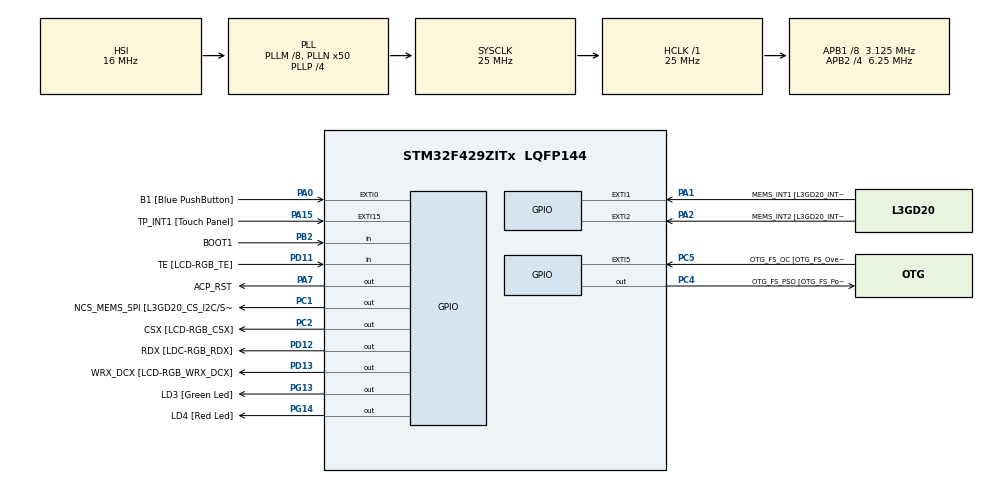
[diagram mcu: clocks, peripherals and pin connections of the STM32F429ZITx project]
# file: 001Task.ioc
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Mcu.Family=STM32F4
Mcu.Name=STM32F429ZITx
Mcu.Package=LQFP144
NVIC.PriorityGroup=NVIC_PRIORITYGROUP_4
NVIC.TIM6_DAC_IRQn=true\:0\:0\:false\:false\:true\:false\:true\:true
NVIC.TimeBase=TIM6_DAC_IRQn
NVIC.TimeBaseIP=TIM6
PA0/WKUP.GPIO_Label=B1 [Blue PushButton]
PA0/WKUP.GPIO_ModeDefaultEXTI=GPIO_MODE_EVT_RISING
PA0/WKUP.GPIO_PuPd=GPIO_NOPULL
PA0/WKUP.Signal=GPXTI0
PA1.GPIO_Label=MEMS_INT1 [L3GD20_INT1]
PA1.GPIO_ModeDefaultEXTI=GPIO_MODE_EVT_RISING
PA1.GPIO_PuPd=GPIO_NOPULL
PA1.Signal=GPXTI1
PA10.GPIO_Label=STLINK_TX [STM32F103CBT6_PA2]
PA10.Signal=USART1_RX
PA11.GPIO_Label=R4
PA11.GPIO_Mode=GPIO_MODE_AF_PP
PA11.GPIO_PuPd=GPIO_NOPULL
PA11.GPIO_Speed=GPIO_SPEED_FREQ_LOW
PA11.Signal=LTDC_R4
PA12.GPIO_Label=R5
PA12.GPIO_Mode=GPIO_MODE_AF_PP
PA12.GPIO_PuPd=GPIO_NOPULL
PA12.GPIO_Speed=GPIO_SPEED_FREQ_LOW
PA12.Signal=LTDC_R5
PA13.GPIO_Label=SWDIO
PA13.Signal=SYS_JTMS-SWDIO
PA14.GPIO_Label=SWCLK
PA14.Signal=SYS_JTCK-SWCLK
PA15.GPIO_Label=TP_INT1 [Touch Panel]
PA15.GPIO_ModeDefaultEXTI=GPIO_MODE_EVT_RISING
PA15.GPIO_PuPd=GPIO_NOPULL
PA15.Signal=GPXTI15
PA2.GPIO_Label=MEMS_INT2 [L3GD20_INT2]
PA2.GPIO_ModeDefaultEXTI=GPIO_MODE_EVT_RISING
PA2.GPIO_PuPd=GPIO_NOPULL
PA2.Signal=GPXTI2
PA3.GPIO_Label=B5
PA3.GPIO_Mode=GPIO_MODE_AF_PP
PA3.GPIO_PuPd=GPIO_NOPULL
PA3.GPIO_Speed=GPIO_SPEED_FREQ_LOW
PA3.Signal=LTDC_B5
PA4.GPIO_Label=VSYNC
PA4.GPIO_Mode=GPIO_MODE_AF_PP
PA4.GPIO_PuPd=GPIO_NOPULL
PA4.GPIO_Speed=GPIO_SPEED_FREQ_LOW
PA4.Signal=LTDC_VSYNC
PA6.GPIO_Label=G2
PA6.GPIO_Mode=GPIO_MODE_AF_PP
PA6.GPIO_PuPd=GPIO_NOPULL
PA6.GPIO_Speed=GPIO_SPEED_FREQ_LOW
PA6.Signal=LTDC_G2
PA7.GPIO_Label=ACP_RST
PA7.GPIO_Mode=GPIO_MODE_OUTPUT_PP
PA7.GPIO_PuPd=GPIO_NOPULL
PA7.GPIO_Speed=GPIO_SPEED_FREQ_LOW
PA7.Signal=GPIO_Output
PA8.GPIO_Label=I2C3_SCL [ACP/RF_SCL]
PA8.GPIO_Mode=GPIO_MODE_AF_OD
PA8.GPIO_PuPd=GPIO_NOPULL
PA8.GPIO_Speed=GPIO_SPEED_FREQ_LOW
PA8.Signal=I2C3_SCL
PA9.GPIO_Label=STLINK_RX [STM32F103CBT6_PA3]
PA9.Signal=USART1_TX
PB0.GPIO_Label=R3
PB0.GPIO_Mode=GPIO_MODE_AF_PP
PB0.GPIO_PuPd=GPIO_NOPULL
PB0.GPIO_Speed=GPIO_SPEED_FREQ_LOW
PB0.Signal=LTDC_R3
PB1.GPIO_Label=R6
PB1.GPIO_Mode=GPIO_MODE_AF_PP
PB1.GPIO_PuPd=GPIO_NOPULL
PB1.GPIO_Speed=GPIO_SPEED_FREQ_LOW
PB1.Signal=LTDC_R6
PB10.GPIO_Label=G4
PB10.GPIO_Mode=GPIO_MODE_AF_PP
PB10.GPIO_PuPd=GPIO_NOPULL
PB10.GPIO_Speed=GPIO_SPEED_FREQ_LOW
PB10.Signal=LTDC_G4
PB11.GPIO_Label=G5
PB11.GPIO_Mode=GPIO_MODE_AF_PP
PB11.GPIO_PuPd=GPIO_NOPULL
PB11.GPIO_Speed=GPIO_SPEED_FREQ_LOW
PB11.Signal=LTDC_G5
PB12.GPIO_Label=OTG_HS_ID
PB12.GPIO_Mode=GPIO_MODE_AF_PP
PB12.GPIO_PuPd=GPIO_NOPULL
PB12.GPIO_Speed=GPIO_SPEED_FREQ_LOW
PB12.Signal=USB_OTG_HS_ID
PB13.GPIO_Label=VBUS_HS
PB13.GPIO_Mode=GPIO_MODE_INPUT
PB13.GPIO_PuPd=GPIO_NOPULL
PB13.Signal=USB_OTG_HS_VBUS
PB14.GPIO_Label=OTG_HS_DM
PB14.GPIO_Mode=GPIO_MODE_AF_PP
PB14.GPIO_PuPd=GPIO_NOPULL
PB14.GPIO_Speed=GPIO_SPEED_FREQ_LOW
PB14.Signal=USB_OTG_HS_DM
PB15.GPIO_Label=OTG_HS_DP
PB15.GPIO_Mode=GPIO_MODE_AF_PP
PB15.GPIO_PuPd=GPIO_NOPULL
PB15.GPIO_Speed=GPIO_SPEED_FREQ_LOW
PB15.Signal=USB_OTG_HS_DP
PB2/BOOT1.GPIO_Label=BOOT1
PB2/BOOT1.GPIO_Mode=GPIO_MODE_INPUT
PB2/BOOT1.GPIO_PuPd=GPIO_NOPULL
PB2/BOOT1.Signal=GPIO_Input
PB5.GPIO_Label=SDCKE1
PB5.GPIO_Mode=GPIO_MODE_AF_PP
PB5.GPIO_PuPd=GPIO_NOPULL
PB5.GPIO_Speed=GPIO_SPEED_FREQ_VERY_HIGH
PB5.Signal=FMC_SDCKE1
PB6.GPIO_Label=SDNE1 [SDRAM_CS]
PB6.GPIO_Mode=GPIO_MODE_AF_PP
PB6.GPIO_PuPd=GPIO_NOPULL
PB6.GPIO_Speed=GPIO_SPEED_FREQ_VERY_HIGH
PB6.Signal=FMC_SDNE1
PB8.GPIO_Label=B6
PB8.GPIO_Mode=GPIO_MODE_AF_PP
PB8.GPIO_PuPd=GPIO_NOPULL
PB8.GPIO_Speed=GPIO_SPEED_FREQ_LOW
PB8.Signal=LTDC_B6
PB9.GPIO_Label=B7
PB9.GPIO_Mode=GPIO_MODE_AF_PP
PB9.GPIO_PuPd=GPIO_NOPULL
PB9.GPIO_Speed=GPIO_SPEED_FREQ_LOW
PB9.Signal=LTDC_B7
PC0.GPIO_Label=SDNWE
PC0.GPIO_Mode=GPIO_MODE_AF_PP
PC0.GPIO_PuPd=GPIO_NOPULL
PC0.GPIO_Speed=GPIO_SPEED_FREQ_VERY_HIGH
PC0.Signal=FMC_SDNWE
PC1.GPIO_Label=NCS_MEMS_SPI [L3GD20_CS_I2C/SPI]
PC1.GPIO_Mode=GPIO_MODE_OUTPUT_PP
PC1.GPIO_PuPd=GPIO_NOPULL
PC1.GPIO_Speed=GPIO_SPEED_FREQ_LOW
PC1.Signal=GPIO_Output
PC10.GPIO_Label=R2
PC10.GPIO_Mode=GPIO_MODE_AF_PP
PC10.GPIO_PuPd=GPIO_NOPULL
PC10.GPIO_Speed=GPIO_SPEED_FREQ_LOW
PC10.Signal=LTDC_R2
PC14/OSC32_IN.GPIO_Label=PC14-OSC32_IN
PC14/OSC32_IN.Signal=RCC_OSC32_IN
PC15/OSC32_OUT.GPIO_Label=PC15-OSC32_OUT
PC15/OSC32_OUT.Signal=RCC_OSC32_OUT
PC2.GPIO_Label=CSX [LCD-RGB_CSX]
PC2.GPIO_Mode=GPIO_MODE_OUTPUT_PP
PC2.GPIO_PuPd=GPIO_NOPULL
PC2.GPIO_Speed=GPIO_SPEED_FREQ_LOW
PC2.Signal=GPIO_Output
PC4.GPIO_Label=OTG_FS_PSO [OTG_FS_PowerSwitchOn]
PC4.GPIO_Mode=GPIO_MODE_OUTPUT_PP
PC4.GPIO_PuPd=GPIO_NOPULL
PC4.GPIO_Speed=GPIO_SPEED_FREQ_LOW
PC4.Signal=GPIO_Output
PC5.GPIO_Label=OTG_FS_OC [OTG_FS_OverCurrent]
PC5.GPIO_ModeDefaultEXTI=GPIO_MODE_EVT_RISING
PC5.Signal=GPXTI5
PC6.GPIO_Label=HSYNC
PC6.GPIO_Mode=GPIO_MODE_AF_PP
PC6.GPIO_PuPd=GPIO_NOPULL
PC6.GPIO_Speed=GPIO_SPEED_FREQ_LOW
PC6.Signal=LTDC_HSYNC
PC7.GPIO_Label=G6
PC7.GPIO_Mode=GPIO_MODE_AF_PP
PC7.GPIO_PuPd=GPIO_NOPULL
PC7.GPIO_Speed=GPIO_SPEED_FREQ_LOW
PC7.Signal=LTDC_G6
PC9.GPIO_Label=I2C3_SDA [ACP/RF_SDA]
PC9.GPIO_Mode=GPIO_MODE_AF_OD
PC9.GPIO_PuPd=GPIO_NOPULL
PC9.GPIO_Speed=GPIO_SPEED_FREQ_LOW
PC9.Signal=I2C3_SDA
PD0.GPIO_Label=D2
PD0.GPIO_Mode=GPIO_MODE_AF_PP
PD0.GPIO_PuPd=GPIO_NOPULL
PD0.GPIO_Speed=GPIO_SPEED_FREQ_VERY_HIGH
PD0.Signal=FMC_D2_DA2
PD1.GPIO_Label=D3
PD1.GPIO_Mode=GPIO_MODE_AF_PP
PD1.GPIO_PuPd=GPIO_NOPULL
PD1.GPIO_Speed=GPIO_SPEED_FREQ_VERY_HIGH
PD1.Signal=FMC_D3_DA3
PD10.GPIO_Label=D15
PD10.GPIO_Mode=GPIO_MODE_AF_PP
PD10.GPIO_PuPd=GPIO_NOPULL
PD10.GPIO_Speed=GPIO_SPEED_FREQ_VERY_HIGH
PD10.Signal=FMC_D15_DA15
PD11.GPIO_Label=TE [LCD-RGB_TE]
PD11.GPIO_Mode=GPIO_MODE_INPUT
PD11.GPIO_PuPd=GPIO_NOPULL
PD11.Signal=GPIO_Input
PD12.GPIO_Label=RDX [LDC-RGB_RDX]
PD12.GPIO_Mode=GPIO_MODE_OUTPUT_PP
PD12.GPIO_PuPd=GPIO_NOPULL
PD12.GPIO_Speed=GPIO_SPEED_FREQ_LOW
PD12.Signal=GPIO_Output
PD13.GPIO_Label=WRX_DCX [LCD-RGB_WRX_DCX]
PD13.GPIO_Mode=GPIO_MODE_OUTPUT_PP
PD13.GPIO_PuPd=GPIO_NOPULL
PD13.GPIO_Speed=GPIO_SPEED_FREQ_LOW
PD13.Signal=GPIO_Output
PD14.GPIO_Label=D0
PD14.GPIO_Mode=GPIO_MODE_AF_PP
PD14.GPIO_PuPd=GPIO_NOPULL
PD14.GPIO_Speed=GPIO_SPEED_FREQ_VERY_HIGH
PD14.Signal=FMC_D0_DA0
PD15.GPIO_Label=D1
PD15.GPIO_Mode=GPIO_MODE_AF_PP
PD15.GPIO_PuPd=GPIO_NOPULL
PD15.GPIO_Speed=GPIO_SPEED_FREQ_VERY_HIGH
PD15.Signal=FMC_D1_DA1
PD3.GPIO_Label=G7
PD3.GPIO_Mode=GPIO_MODE_AF_PP
PD3.GPIO_PuPd=GPIO_NOPULL
PD3.GPIO_Speed=GPIO_SPEED_FREQ_LOW
PD3.Signal=LTDC_G7
PD6.GPIO_Label=B2
PD6.GPIO_Mode=GPIO_MODE_AF_PP
PD6.GPIO_PuPd=GPIO_NOPULL
PD6.GPIO_Speed=GPIO_SPEED_FREQ_LOW
PD6.Signal=LTDC_B2
PD8.GPIO_Label=D13
PD8.GPIO_Mode=GPIO_MODE_AF_PP
PD8.GPIO_PuPd=GPIO_NOPULL
PD8.GPIO_Speed=GPIO_SPEED_FREQ_VERY_HIGH
PD8.Signal=FMC_D13_DA13
PD9.GPIO_Label=D14
PD9.GPIO_Mode=GPIO_MODE_AF_PP
PD9.GPIO_PuPd=GPIO_NOPULL
PD9.GPIO_Speed=GPIO_SPEED_FREQ_VERY_HIGH
PD9.Signal=FMC_D14_DA14
PE0.GPIO_Label=NBL0 [SDRAM_LDQM]
PE0.GPIO_Mode=GPIO_MODE_AF_PP
PE0.GPIO_PuPd=GPIO_NOPULL
PE0.GPIO_Speed=GPIO_SPEED_FREQ_VERY_HIGH
PE0.Signal=FMC_NBL0
PE1.GPIO_Label=NBL1 [SDRAM_UDQM]
PE1.GPIO_Mode=GPIO_MODE_AF_PP
PE1.GPIO_PuPd=GPIO_NOPULL
PE1.GPIO_Speed=GPIO_SPEED_FREQ_VERY_HIGH
PE1.Signal=FMC_NBL1
PE10.GPIO_Label=D7
PE10.GPIO_Mode=GPIO_MODE_AF_PP
PE10.GPIO_PuPd=GPIO_NOPULL
PE10.GPIO_Speed=GPIO_SPEED_FREQ_VERY_HIGH
PE10.Signal=FMC_D7_DA7
PE11.GPIO_Label=D8
PE11.GPIO_Mode=GPIO_MODE_AF_PP
PE11.GPIO_PuPd=GPIO_NOPULL
PE11.GPIO_Speed=GPIO_SPEED_FREQ_VERY_HIGH
PE11.Signal=FMC_D8_DA8
PE12.GPIO_Label=D9
PE12.GPIO_Mode=GPIO_MODE_AF_PP
PE12.GPIO_PuPd=GPIO_NOPULL
PE12.GPIO_Speed=GPIO_SPEED_FREQ_VERY_HIGH
PE12.Signal=FMC_D9_DA9
PE13.GPIO_Label=D10
PE13.GPIO_Mode=GPIO_MODE_AF_PP
PE13.GPIO_PuPd=GPIO_NOPULL
PE13.GPIO_Speed=GPIO_SPEED_FREQ_VERY_HIGH
PE13.Signal=FMC_D10_DA10
PE14.GPIO_Label=D11
PE14.GPIO_Mode=GPIO_MODE_AF_PP
PE14.GPIO_PuPd=GPIO_NOPULL
PE14.GPIO_Speed=GPIO_SPEED_FREQ_VERY_HIGH
PE14.Signal=FMC_D11_DA11
PE15.GPIO_Label=D12
PE15.GPIO_Mode=GPIO_MODE_AF_PP
PE15.GPIO_PuPd=GPIO_NOPULL
PE15.GPIO_Speed=GPIO_SPEED_FREQ_VERY_HIGH
PE15.Signal=FMC_D12_DA12
PE7.GPIO_Label=D4
PE7.GPIO_Mode=GPIO_MODE_AF_PP
PE7.GPIO_PuPd=GPIO_NOPULL
PE7.GPIO_Speed=GPIO_SPEED_FREQ_VERY_HIGH
PE7.Signal=FMC_D4_DA4
PE8.GPIO_Label=D5
PE8.GPIO_Mode=GPIO_MODE_AF_PP
PE8.GPIO_PuPd=GPIO_NOPULL
PE8.GPIO_Speed=GPIO_SPEED_FREQ_VERY_HIGH
PE8.Signal=FMC_D5_DA5
PE9.GPIO_Label=D6
PE9.GPIO_Mode=GPIO_MODE_AF_PP
PE9.GPIO_PuPd=GPIO_NOPULL
PE9.GPIO_Speed=GPIO_SPEED_FREQ_VERY_HIGH
PE9.Signal=FMC_D6_DA6
PF0.GPIO_Label=A0
PF0.GPIO_Mode=GPIO_MODE_AF_PP
PF0.GPIO_PuPd=GPIO_NOPULL
PF0.GPIO_Speed=GPIO_SPEED_FREQ_VERY_HIGH
PF0.Signal=FMC_A0
PF1.GPIO_Label=A1
PF1.GPIO_Mode=GPIO_MODE_AF_PP
PF1.GPIO_PuPd=GPIO_NOPULL
PF1.GPIO_Speed=GPIO_SPEED_FREQ_VERY_HIGH
PF1.Signal=FMC_A1
PF10.GPIO_Label=ENABLE [LCD-RGB_ENABLE]
PF10.GPIO_Mode=GPIO_MODE_AF_PP
PF10.GPIO_PuPd=GPIO_NOPULL
PF10.GPIO_Speed=GPIO_SPEED_FREQ_LOW
PF10.Signal=LTDC_DE
PF11.GPIO_Label=SDNRAS
PF11.GPIO_Mode=GPIO_MODE_AF_PP
PF11.GPIO_PuPd=GPIO_NOPULL
PF11.GPIO_Speed=GPIO_SPEED_FREQ_VERY_HIGH
PF11.Signal=FMC_SDNRAS
PF12.GPIO_Label=A6
PF12.GPIO_Mode=GPIO_MODE_AF_PP
PF12.GPIO_PuPd=GPIO_NOPULL
PF12.GPIO_Speed=GPIO_SPEED_FREQ_VERY_HIGH
PF12.Signal=FMC_A6
PF13.GPIO_Label=A7
PF13.GPIO_Mode=GPIO_MODE_AF_PP
PF13.GPIO_PuPd=GPIO_NOPULL
PF13.GPIO_Speed=GPIO_SPEED_FREQ_VERY_HIGH
PF13.Signal=FMC_A7
PF14.GPIO_Label=A8
PF14.GPIO_Mode=GPIO_MODE_AF_PP
PF14.GPIO_PuPd=GPIO_NOPULL
PF14.GPIO_Speed=GPIO_SPEED_FREQ_VERY_HIGH
PF14.Signal=FMC_A8
PF15.GPIO_Label=A9
PF15.GPIO_Mode=GPIO_MODE_AF_PP
PF15.GPIO_PuPd=GPIO_NOPULL
PF15.GPIO_Speed=GPIO_SPEED_FREQ_VERY_HIGH
PF15.Signal=FMC_A9
PF2.GPIO_Label=A2
PF2.GPIO_Mode=GPIO_MODE_AF_PP
PF2.GPIO_PuPd=GPIO_NOPULL
PF2.GPIO_Speed=GPIO_SPEED_FREQ_VERY_HIGH
PF2.Signal=FMC_A2
PF3.GPIO_Label=A3
PF3.GPIO_Mode=GPIO_MODE_AF_PP
PF3.GPIO_PuPd=GPIO_NOPULL
PF3.GPIO_Speed=GPIO_SPEED_FREQ_VERY_HIGH
PF3.Signal=FMC_A3
PF4.GPIO_Label=A4
PF4.GPIO_Mode=GPIO_MODE_AF_PP
PF4.GPIO_PuPd=GPIO_NOPULL
PF4.GPIO_Speed=GPIO_SPEED_FREQ_VERY_HIGH
PF4.Signal=FMC_A4
PF5.GPIO_Label=A5
PF5.GPIO_Mode=GPIO_MODE_AF_PP
PF5.GPIO_PuPd=GPIO_NOPULL
PF5.GPIO_Speed=GPIO_SPEED_FREQ_VERY_HIGH
PF5.Signal=FMC_A5
PF7.GPIO_Label=SPI5_SCK [L3GD20_SCL/SPC]
PF7.GPIO_Mode=GPIO_MODE_AF_PP
PF7.GPIO_PuPd=GPIO_NOPULL
PF7.GPIO_Speed=GPIO_SPEED_FREQ_LOW
PF7.Signal=SPI5_SCK
PF8.GPIO_Label=SPI5_MISO [L3GD20_SDO]
PF8.GPIO_Mode=GPIO_MODE_AF_PP
PF8.GPIO_PuPd=GPIO_NOPULL
PF8.GPIO_Speed=GPIO_SPEED_FREQ_LOW
PF8.Signal=SPI5_MISO
PF9.GPIO_Label=SPI5_MOSI [L3GD20_SDA/SDI/SDO]
PF9.GPIO_Mode=GPIO_MODE_AF_PP
PF9.GPIO_PuPd=GPIO_NOPULL
PF9.GPIO_Speed=GPIO_SPEED_FREQ_LOW
PF9.Signal=SPI5_MOSI
PG0.GPIO_Label=A10
PG0.GPIO_Mode=GPIO_MODE_AF_PP
PG0.GPIO_PuPd=GPIO_NOPULL
PG0.GPIO_Speed=GPIO_SPEED_FREQ_VERY_HIGH
PG0.Signal=FMC_A10
PG1.GPIO_Label=A11
PG1.GPIO_Mode=GPIO_MODE_AF_PP
PG1.GPIO_PuPd=GPIO_NOPULL
PG1.GPIO_Speed=GPIO_SPEED_FREQ_VERY_HIGH
PG1.Signal=FMC_A11
PG10.GPIO_Label=G3
PG10.GPIO_Mode=GPIO_MODE_AF_PP
PG10.GPIO_PuPd=GPIO_NOPULL
PG10.GPIO_Speed=GPIO_SPEED_FREQ_LOW
PG10.Signal=LTDC_G3
PG11.GPIO_Label=B3
PG11.GPIO_Mode=GPIO_MODE_AF_PP
PG11.GPIO_PuPd=GPIO_NOPULL
PG11.GPIO_Speed=GPIO_SPEED_FREQ_LOW
PG11.Signal=LTDC_B3
PG12.GPIO_Label=B4
PG12.GPIO_Mode=GPIO_MODE_AF_PP
PG12.GPIO_PuPd=GPIO_NOPULL
PG12.GPIO_Speed=GPIO_SPEED_FREQ_LOW
PG12.Signal=LTDC_B4
PG13.GPIO_Label=LD3 [Green Led]
PG13.GPIO_Mode=GPIO_MODE_OUTPUT_PP
PG13.GPIO_PuPd=GPIO_NOPULL
PG13.GPIO_Speed=GPIO_SPEED_FREQ_LOW
PG13.Signal=GPIO_Output
PG14.GPIO_Label=LD4 [Red Led]
PG14.GPIO_Mode=GPIO_MODE_OUTPUT_PP
PG14.GPIO_PuPd=GPIO_NOPULL
PG14.GPIO_Speed=GPIO_SPEED_FREQ_LOW
PG14.Signal=GPIO_Output
PG15.GPIO_Label=SDNCAS
PG15.GPIO_Mode=GPIO_MODE_AF_PP
PG15.GPIO_PuPd=GPIO_NOPULL
PG15.GPIO_Speed=GPIO_SPEED_FREQ_VERY_HIGH
PG15.Signal=FMC_SDNCAS
PG4.GPIO_Label=BA0
PG4.GPIO_Mode=GPIO_MODE_AF_PP
PG4.GPIO_PuPd=GPIO_NOPULL
PG4.GPIO_Speed=GPIO_SPEED_FREQ_VERY_HIGH
PG4.Signal=FMC_A14_BA0
PG5.GPIO_Label=BA1
PG5.GPIO_Mode=GPIO_MODE_AF_PP
PG5.GPIO_PuPd=GPIO_NOPULL
PG5.GPIO_Speed=GPIO_SPEED_FREQ_VERY_HIGH
PG5.Signal=FMC_A15_BA1
PG6.GPIO_Label=R7
PG6.GPIO_Mode=GPIO_MODE_AF_PP
PG6.GPIO_PuPd=GPIO_NOPULL
PG6.GPIO_Speed=GPIO_SPEED_FREQ_LOW
PG6.Signal=LTDC_R7
PG7.GPIO_Label=DOTCLK [LCT-RGB_DOTCLK]
PG7.GPIO_Mode=GPIO_MODE_AF_PP
PG7.GPIO_PuPd=GPIO_NOPULL
PG7.GPIO_Speed=GPIO_SPEED_FREQ_LOW
PG7.Signal=LTDC_CLK
PG8.GPIO_Label=SDCLK
PG8.GPIO_Mode=GPIO_MODE_AF_PP
PG8.GPIO_PuPd=GPIO_NOPULL
PG8.GPIO_Speed=GPIO_SPEED_FREQ_VERY_HIGH
PG8.Signal=FMC_SDCLK
PH0/OSC_IN.GPIO_Label=PH0-OSC_IN
PH0/OSC_IN.Signal=RCC_OSC_IN
PH1/OSC_OUT.GPIO_Label=PH1-OSC_OUT
PH1/OSC_OUT.Signal=RCC_OSC_OUT
ProjectManager.HeapSize=0x200
ProjectManager.StackSize=0x400
ProjectManager.TargetToolchain=STM32CubeIDE
RCC.48MHZClocksFreq_Value=14285714.285714285
RCC.AHBFreq_Value=25000000
RCC.APB1CLKDivider=RCC_HCLK_DIV8
RCC.APB1Freq_Value=3125000
RCC.APB1TimFreq_Value=6250000
RCC.APB2CLKDivider=RCC_HCLK_DIV4
RCC.APB2Freq_Value=6250000
RCC.APB2TimFreq_Value=12500000
RCC.CortexFreq_Value=25000000
RCC.HCLKFreq_Value=25000000
RCC.HSE_VALUE=8000000
RCC.HSI_VALUE=16000000
RCC.LSE_VALUE=32768
RCC.PLLM=8
RCC.PLLN=50
RCC.PLLP=RCC_PLLP_DIV4
RCC.PLLQ=7
RCC.SYSCLKFreq_VALUE=25000000
RCC.SYSCLKSource=RCC_SYSCLKSOURCE_PLLCLK
RCC.VCOOutputFreq_Value=100000000
SH.FMC_A0.0=FMC_A0
SH.FMC_A1.0=FMC_A1
SH.FMC_A10.0=FMC_A10
SH.FMC_A11.0=FMC_A11
SH.FMC_A14_BA0.0=FMC_BA0
SH.FMC_A15_BA1.0=FMC_BA1
SH.FMC_A2.0=FMC_A2
SH.FMC_A3.0=FMC_A3
SH.FMC_A4.0=FMC_A4
SH.FMC_A5.0=FMC_A5
SH.FMC_A6.0=FMC_A6
SH.FMC_A7.0=FMC_A7
SH.FMC_A8.0=FMC_A8
SH.FMC_A9.0=FMC_A9
SH.FMC_D0_DA0.0=FMC_D0
SH.FMC_D10_DA10.0=FMC_D10
SH.FMC_D11_DA11.0=FMC_D11
SH.FMC_D12_DA12.0=FMC_D12
SH.FMC_D13_DA13.0=FMC_D13
SH.FMC_D14_DA14.0=FMC_D14
SH.FMC_D15_DA15.0=FMC_D15
SH.FMC_D1_DA1.0=FMC_D1
SH.FMC_D2_DA2.0=FMC_D2
SH.FMC_D3_DA3.0=FMC_D3
SH.FMC_D4_DA4.0=FMC_D4
SH.FMC_D5_DA5.0=FMC_D5
SH.FMC_D6_DA6.0=FMC_D6
SH.FMC_D7_DA7.0=FMC_D7
SH.FMC_D8_DA8.0=FMC_D8
SH.FMC_D9_DA9.0=FMC_D9
SH.FMC_NBL0.0=FMC_NBL0
SH.FMC_NBL1.0=FMC_NBL1
SH.FMC_SDCLK.0=FMC_SDCLK
SH.FMC_SDNCAS.0=FMC_SDNCAS
SH.FMC_SDNRAS.0=FMC_SDNRAS
SH.FMC_SDNWE.0=FMC_SDNWE
VP_SYS_VS_tim6.Mode=TIM6
board=STM32F429I-DISC1

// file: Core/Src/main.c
/* USER CODE BEGIN Header */
/**
  ******************************************************************************
  * @file           : main.c
  * @brief          : Main program body
  ******************************************************************************
  * @attention
  *
  * Copyright (c) 2022 STMicroelectronics.
  * All rights reserved.
  *
  * This software is licensed under terms that can be found in the LICENSE file
  * in the root directory of this software component.
  * If no LICENSE file comes with this software, it is provided AS-IS.
  *
  ******************************************************************************
  */
/* USER CODE END Header */
#include<stdio.h>
#include "main.h"
//#include <SEGGER_SYSVIEW.h>

/* USER CODE BEGIN Includes */
#include "FreeRTOS.h"
#include "task.h"

/* USER CODE END Includes */

/* USER CODE BEGIN PV */
#define DWT_CTRL (*(volatile uint32_t*)0xE0001000)

/* USER CODE END PV */

void SystemClock_Config(void);
static void MX_GPIO_Init(void);
/* USER CODE BEGIN PFP */
static void Task1(void* parameters);
static void Task2(void* parameters);

/* USER CODE END PFP */

int main(void)
{
  /* USER CODE BEGIN 1 */
	TaskHandle_t task1_Handle;
	TaskHandle_t task2_Handle;

	BaseType_t status;

  /* USER CODE END 1 */

  /* MCU Configuration--------------------------------------------------------*/

  /* Reset of all peripherals, Initializes the Flash interface and the Systick. */
  HAL_Init();

  /* Configure the system clock */
  SystemClock_Config();

  /* Initialize all configured peripherals */
  MX_GPIO_Init();
  /* USER CODE BEGIN 2 */

  DWT_CTRL |= (1 << 0);

  SEGGER_SYSVIEW_Conf();
  SEGGER_SYSVIEW_Start();

 status = xTaskCreate(Task1, "Task-1", 200, "Hello World from Task-1\n", 2, &task1_Handle);
 configASSERT(status == pdPASS);

 status = xTaskCreate(Task2, "Task-2", 200, "Hello World from Task-2\n", 2, &task2_Handle);
 configASSERT(status == pdPASS);

  /* WE START THE SCHEDULER HERE*/
 vTaskStartScheduler();

  /* Infinite loop */
  while (1)
  {

  }
}

void SystemClock_Config(void)
{
  RCC_OscInitTypeDef RCC_OscInitStruct = {0};
  RCC_ClkInitTypeDef RCC_ClkInitStruct = {0};

  /** Configure the main internal regulator output voltage
  */
  __HAL_RCC_PWR_CLK_ENABLE();
  __HAL_PWR_VOLTAGESCALING_CONFIG(PWR_REGULATOR_VOLTAGE_SCALE3);

  /** Initializes the RCC Oscillators according to the specified parameters
  * in the RCC_OscInitTypeDef structure.
  */
  RCC_OscInitStruct.OscillatorType = RCC_OSCILLATORTYPE_HSI;
  RCC_OscInitStruct.HSIState = RCC_HSI_ON;
  RCC_OscInitStruct.HSICalibrationValue = RCC_HSICALIBRATION_DEFAULT;
  RCC_OscInitStruct.PLL.PLLState = RCC_PLL_ON;
  RCC_OscInitStruct.PLL.PLLSource = RCC_PLLSOURCE_HSI;
  RCC_OscInitStruct.PLL.PLLM = 8;
  RCC_OscInitStruct.PLL.PLLN = 50;
  RCC_OscInitStruct.PLL.PLLP = RCC_PLLP_DIV4;
  RCC_OscInitStruct.PLL.PLLQ = 7;
  if (HAL_RCC_OscConfig(&RCC_OscInitStruct) != HAL_OK)
  {
    Error_Handler();
  }

  /** Initializes the CPU, AHB and APB buses clocks
  */
  RCC_ClkInitStruct.ClockType = RCC_CLOCKTYPE_HCLK|RCC_CLOCKTYPE_SYSCLK
                              |RCC_CLOCKTYPE_PCLK1|RCC_CLOCKTYPE_PCLK2;
  RCC_ClkInitStruct.SYSCLKSource = RCC_SYSCLKSOURCE_PLLCLK;
  RCC_ClkInitStruct.AHBCLKDivider = RCC_SYSCLK_DIV1;
  RCC_ClkInitStruct.APB1CLKDivider = RCC_HCLK_DIV8;
  RCC_ClkInitStruct.APB2CLKDivider = RCC_HCLK_DIV4;

  if (HAL_RCC_ClockConfig(&RCC_ClkInitStruct, FLASH_LATENCY_0) != HAL_OK)
  {
    Error_Handler();
  }
}

static void MX_GPIO_Init(void)
{
  GPIO_InitTypeDef GPIO_InitStruct = {0};

  /* GPIO Ports Clock Enable */
  __HAL_RCC_GPIOC_CLK_ENABLE();
  __HAL_RCC_GPIOF_CLK_ENABLE();
  __HAL_RCC_GPIOH_CLK_ENABLE();
  __HAL_RCC_GPIOA_CLK_ENABLE();
  __HAL_RCC_GPIOB_CLK_ENABLE();
  __HAL_RCC_GPIOG_CLK_ENABLE();
  __HAL_RCC_GPIOE_CLK_ENABLE();
  __HAL_RCC_GPIOD_CLK_ENABLE();

  /*Configure GPIO pin Output Level */
  HAL_GPIO_WritePin(GPIOC, NCS_MEMS_SPI_Pin|CSX_Pin|OTG_FS_PSO_Pin, GPIO_PIN_RESET);

  /*Configure GPIO pin Output Level */
  HAL_GPIO_WritePin(ACP_RST_GPIO_Port, ACP_RST_Pin, GPIO_PIN_RESET);

  /*Configure GPIO pin Output Level */
  HAL_GPIO_WritePin(GPIOD, RDX_Pin|WRX_DCX_Pin, GPIO_PIN_RESET);

  /*Configure GPIO pin Output Level */
  HAL_GPIO_WritePin(GPIOG, LD3_Pin|LD4_Pin, GPIO_PIN_RESET);

  /*Configure GPIO pins : A0_Pin A1_Pin A2_Pin A3_Pin
                           A4_Pin A5_Pin SDNRAS_Pin A6_Pin
                           A7_Pin A8_Pin A9_Pin */
  GPIO_InitStruct.Pin = A0_Pin|A1_Pin|A2_Pin|A3_Pin
                          |A4_Pin|A5_Pin|SDNRAS_Pin|A6_Pin
                          |A7_Pin|A8_Pin|A9_Pin;
  GPIO_InitStruct.Mode = GPIO_MODE_AF_PP;
  GPIO_InitStruct.Pull = GPIO_NOPULL;
  GPIO_InitStruct.Speed = GPIO_SPEED_FREQ_VERY_HIGH;
  GPIO_InitStruct.Alternate = GPIO_AF12_FMC;
  HAL_GPIO_Init(GPIOF, &GPIO_InitStruct);

  /*Configure GPIO pins : SPI5_SCK_Pin SPI5_MISO_Pin SPI5_MOSI_Pin */
  GPIO_InitStruct.Pin = SPI5_SCK_Pin|SPI5_MISO_Pin|SPI5_MOSI_Pin;
  GPIO_InitStruct.Mode = GPIO_MODE_AF_PP;
  GPIO_InitStruct.Pull = GPIO_NOPULL;
  GPIO_InitStruct.Speed = GPIO_SPEED_FREQ_LOW;
  GPIO_InitStruct.Alternate = GPIO_AF5_SPI5;
  HAL_GPIO_Init(GPIOF, &GPIO_InitStruct);

  /*Configure GPIO pin : ENABLE_Pin */
  GPIO_InitStruct.Pin = ENABLE_Pin;
  GPIO_InitStruct.Mode = GPIO_MODE_AF_PP;
  GPIO_InitStruct.Pull = GPIO_NOPULL;
  GPIO_InitStruct.Speed = GPIO_SPEED_FREQ_LOW;
  GPIO_InitStruct.Alternate = GPIO_AF14_LTDC;
  HAL_GPIO_Init(ENABLE_GPIO_Port, &GPIO_InitStruct);

  /*Configure GPIO pin : SDNWE_Pin */
  GPIO_InitStruct.Pin = SDNWE_Pin;
  GPIO_InitStruct.Mode = GPIO_MODE_AF_PP;
  GPIO_InitStruct.Pull = GPIO_NOPULL;
  GPIO_InitStruct.Speed = GPIO_SPEED_FREQ_VERY_HIGH;
  GPIO_InitStruct.Alternate = GPIO_AF12_FMC;
  HAL_GPIO_Init(SDNWE_GPIO_Port, &GPIO_InitStruct);

  /*Configure GPIO pins : NCS_MEMS_SPI_Pin CSX_Pin OTG_FS_PSO_Pin */
  GPIO_InitStruct.Pin = NCS_MEMS_SPI_Pin|CSX_Pin|OTG_FS_PSO_Pin;
  GPIO_InitStruct.Mode = GPIO_MODE_OUTPUT_PP;
  GPIO_InitStruct.Pull = GPIO_NOPULL;
  GPIO_InitStruct.Speed = GPIO_SPEED_FREQ_LOW;
  HAL_GPIO_Init(GPIOC, &GPIO_InitStruct);

  /*Configure GPIO pins : B1_Pin MEMS_INT1_Pin MEMS_INT2_Pin TP_INT1_Pin */
  GPIO_InitStruct.Pin = B1_Pin|MEMS_INT1_Pin|MEMS_INT2_Pin|TP_INT1_Pin;
  GPIO_InitStruct.Mode = GPIO_MODE_EVT_RISING;
  GPIO_InitStruct.Pull = GPIO_NOPULL;
  HAL_GPIO_Init(GPIOA, &GPIO_InitStruct);

  /*Configure GPIO pins : B5_Pin VSYNC_Pin G2_Pin R4_Pin
                           R5_Pin */
  GPIO_InitStruct.Pin = B5_Pin|VSYNC_Pin|G2_Pin|R4_Pin
                          |R5_Pin;
  GPIO_InitStruct.Mode = GPIO_MODE_AF_PP;
  GPIO_InitStruct.Pull = GPIO_NOPULL;
  GPIO_InitStruct.Speed = GPIO_SPEED_FREQ_LOW;
  GPIO_InitStruct.Alternate = GPIO_AF14_LTDC;
  HAL_GPIO_Init(GPIOA, &GPIO_InitStruct);

  /*Configure GPIO pin : ACP_RST_Pin */
  GPIO_InitStruct.Pin = ACP_RST_Pin;
  GPIO_InitStruct.Mode = GPIO_MODE_OUTPUT_PP;
  GPIO_InitStruct.Pull = GPIO_NOPULL;
  GPIO_InitStruct.Speed = GPIO_SPEED_FREQ_LOW;
  HAL_GPIO_Init(ACP_RST_GPIO_Port, &GPIO_InitStruct);

  /*Configure GPIO pin : OTG_FS_OC_Pin */
  GPIO_InitStruct.Pin = OTG_FS_OC_Pin;
  GPIO_InitStruct.Mode = GPIO_MODE_EVT_RISING;
  GPIO_InitStruct.Pull = GPIO_NOPULL;
  HAL_GPIO_Init(OTG_FS_OC_GPIO_Port, &GPIO_InitStruct);

  /*Configure GPIO pins : R3_Pin R6_Pin */
  GPIO_InitStruct.Pin = R3_Pin|R6_Pin;
  GPIO_InitStruct.Mode = GPIO_MODE_AF_PP;
  GPIO_InitStruct.Pull = GPIO_NOPULL;
  GPIO_InitStruct.Speed = GPIO_SPEED_FREQ_LOW;
  GPIO_InitStruct.Alternate = GPIO_AF9_LTDC;
  HAL_GPIO_Init(GPIOB, &GPIO_InitStruct);

  /*Configure GPIO pin : BOOT1_Pin */
  GPIO_InitStruct.Pin = BOOT1_Pin;
  GPIO_InitStruct.Mode = GPIO_MODE_INPUT;
  GPIO_InitStruct.Pull = GPIO_NOPULL;
  HAL_GPIO_Init(BOOT1_GPIO_Port, &GPIO_InitStruct);

  /*Configure GPIO pins : A10_Pin A11_Pin BA0_Pin BA1_Pin
                           SDCLK_Pin SDNCAS_Pin */
  GPIO_InitStruct.Pin = A10_Pin|A11_Pin|BA0_Pin|BA1_Pin
                          |SDCLK_Pin|SDNCAS_Pin;
  GPIO_InitStruct.Mode = GPIO_MODE_AF_PP;
  GPIO_InitStruct.Pull = GPIO_NOPULL;
  GPIO_InitStruct.Speed = GPIO_SPEED_FREQ_VERY_HIGH;
  GPIO_InitStruct.Alternate = GPIO_AF12_FMC;
  HAL_GPIO_Init(GPIOG, &GPIO_InitStruct);

  /*Configure GPIO pins : D4_Pin D5_Pin D6_Pin D7_Pin
                           D8_Pin D9_Pin D10_Pin D11_Pin
                           D12_Pin NBL0_Pin NBL1_Pin */
  GPIO_InitStruct.Pin = D4_Pin|D5_Pin|D6_Pin|D7_Pin
                          |D8_Pin|D9_Pin|D10_Pin|D11_Pin
                          |D12_Pin|NBL0_Pin|NBL1_Pin;
  GPIO_InitStruct.Mode = GPIO_MODE_AF_PP;
  GPIO_InitStruct.Pull = GPIO_NOPULL;
  GPIO_InitStruct.Speed = GPIO_SPEED_FREQ_VERY_HIGH;
  GPIO_InitStruct.Alternate = GPIO_AF12_FMC;
  HAL_GPIO_Init(GPIOE, &GPIO_InitStruct);

  /*Configure GPIO pins : G4_Pin G5_Pin B6_Pin B7_Pin */
  GPIO_InitStruct.Pin = G4_Pin|G5_Pin|B6_Pin|B7_Pin;
  GPIO_InitStruct.Mode = GPIO_MODE_AF_PP;
  GPIO_InitStruct.Pull = GPIO_NOPULL;
  GPIO_InitStruct.Speed = GPIO_SPEED_FREQ_LOW;
  GPIO_InitStruct.Alternate = GPIO_AF14_LTDC;
  HAL_GPIO_Init(GPIOB, &GPIO_InitStruct);

  /*Configure GPIO pins : OTG_HS_ID_Pin OTG_HS_DM_Pin OTG_HS_DP_Pin */
  GPIO_InitStruct.Pin = OTG_HS_ID_Pin|OTG_HS_DM_Pin|OTG_HS_DP_Pin;
  GPIO_InitStruct.Mode = GPIO_MODE_AF_PP;
  GPIO_InitStruct.Pull = GPIO_NOPULL;
  GPIO_InitStruct.Speed = GPIO_SPEED_FREQ_LOW;
  GPIO_InitStruct.Alternate = GPIO_AF12_OTG_HS_FS;
  HAL_GPIO_Init(GPIOB, &GPIO_InitStruct);

  /*Configure GPIO pin : VBUS_HS_Pin */
  GPIO_InitStruct.Pin = VBUS_HS_Pin;
  GPIO_InitStruct.Mode = GPIO_MODE_INPUT;
  GPIO_InitStruct.Pull = GPIO_NOPULL;
  HAL_GPIO_Init(VBUS_HS_GPIO_Port, &GPIO_InitStruct);

  /*Configure GPIO pins : D13_Pin D14_Pin D15_Pin D0_Pin
                           D1_Pin D2_Pin D3_Pin */
  GPIO_InitStruct.Pin = D13_Pin|D14_Pin|D15_Pin|D0_Pin
                          |D1_Pin|D2_Pin|D3_Pin;
  GPIO_InitStruct.Mode = GPIO_MODE_AF_PP;
  GPIO_InitStruct.Pull = GPIO_NOPULL;
  GPIO_InitStruct.Speed = GPIO_SPEED_FREQ_VERY_HIGH;
  GPIO_InitStruct.Alternate = GPIO_AF12_FMC;
  HAL_GPIO_Init(GPIOD, &GPIO_InitStruct);

  /*Configure GPIO pin : TE_Pin */
  GPIO_InitStruct.Pin = TE_Pin;
  GPIO_InitStruct.Mode = GPIO_MODE_INPUT;
  GPIO_InitStruct.Pull = GPIO_NOPULL;
  HAL_GPIO_Init(TE_GPIO_Port, &GPIO_InitStruct);

  /*Configure GPIO pins : RDX_Pin WRX_DCX_Pin */
  GPIO_InitStruct.Pin = RDX_Pin|WRX_DCX_Pin;
  GPIO_InitStruct.Mode = GPIO_MODE_OUTPUT_PP;
  GPIO_InitStruct.Pull = GPIO_NOPULL;
  GPIO_InitStruct.Speed = GPIO_SPEED_FREQ_LOW;
  HAL_GPIO_Init(GPIOD, &GPIO_InitStruct);

  /*Configure GPIO pins : R7_Pin DOTCLK_Pin B3_Pin */
  GPIO_InitStruct.Pin = R7_Pin|DOTCLK_Pin|B3_Pin;
  GPIO_InitStruct.Mode = GPIO_MODE_AF_PP;
  GPIO_InitStruct.Pull = GPIO_NOPULL;
  GPIO_InitStruct.Speed = GPIO_SPEED_FREQ_LOW;
  GPIO_InitStruct.Alternate = GPIO_AF14_LTDC;
  HAL_GPIO_Init(GPIOG, &GPIO_InitStruct);

  /*Configure GPIO pins : HSYNC_Pin G6_Pin R2_Pin */
  GPIO_InitStruct.Pin = HSYNC_Pin|G6_Pin|R2_Pin;
  GPIO_InitStruct.Mode = GPIO_MODE_AF_PP;
  GPIO_InitStruct.Pull = GPIO_NOPULL;
  GPIO_InitStruct.Speed = GPIO_SPEED_FREQ_LOW;
  GPIO_InitStruct.Alternate = GPIO_AF14_LTDC;
  HAL_GPIO_Init(GPIOC, &GPIO_InitStruct);

  /*Configure GPIO pin : I2C3_SDA_Pin */
  GPIO_InitStruct.Pin = I2C3_SDA_Pin;
  GPIO_InitStruct.Mode = GPIO_MODE_AF_OD;
  GPIO_InitStruct.Pull = GPIO_NOPULL;
  GPIO_InitStruct.Speed = GPIO_SPEED_FREQ_LOW;
  GPIO_InitStruct.Alternate = GPIO_AF4_I2C3;
  HAL_GPIO_Init(I2C3_SDA_GPIO_Port, &GPIO_InitStruct);

  /*Configure GPIO pin : I2C3_SCL_Pin */
  GPIO_InitStruct.Pin = I2C3_SCL_Pin;
  GPIO_InitStruct.Mode = GPIO_MODE_AF_OD;
  GPIO_InitStruct.Pull = GPIO_NOPULL;
  GPIO_InitStruct.Speed = GPIO_SPEED_FREQ_LOW;
  GPIO_InitStruct.Alternate = GPIO_AF4_I2C3;
  HAL_GPIO_Init(I2C3_SCL_GPIO_Port, &GPIO_InitStruct);

  /*Configure GPIO pins : STLINK_RX_Pin STLINK_TX_Pin */
  GPIO_InitStruct.Pin = STLINK_RX_Pin|STLINK_TX_Pin;
  GPIO_InitStruct.Mode = GPIO_MODE_AF_PP;
  GPIO_InitStruct.Pull = GPIO_NOPULL;
  GPIO_InitStruct.Speed = GPIO_SPEED_FREQ_VERY_HIGH;
  GPIO_InitStruct.Alternate = GPIO_AF7_USART1;
  HAL_GPIO_Init(GPIOA, &GPIO_InitStruct);

  /*Configure GPIO pins : G7_Pin B2_Pin */
  GPIO_InitStruct.Pin = G7_Pin|B2_Pin;
  GPIO_InitStruct.Mode = GPIO_MODE_AF_PP;
  GPIO_InitStruct.Pull = GPIO_NOPULL;
  GPIO_InitStruct.Speed = GPIO_SPEED_FREQ_LOW;
  GPIO_InitStruct.Alternate = GPIO_AF14_LTDC;
  HAL_GPIO_Init(GPIOD, &GPIO_InitStruct);

  /*Configure GPIO pins : G3_Pin B4_Pin */
  GPIO_InitStruct.Pin = G3_Pin|B4_Pin;
  GPIO_InitStruct.Mode = GPIO_MODE_AF_PP;
  GPIO_InitStruct.Pull = GPIO_NOPULL;
  GPIO_InitStruct.Speed = GPIO_SPEED_FREQ_LOW;
  GPIO_InitStruct.Alternate = GPIO_AF9_LTDC;
  HAL_GPIO_Init(GPIOG, &GPIO_InitStruct);

  /*Configure GPIO pins : LD3_Pin LD4_Pin */
  GPIO_InitStruct.Pin = LD3_Pin|LD4_Pin;
  GPIO_InitStruct.Mode = GPIO_MODE_OUTPUT_PP;
  GPIO_InitStruct.Pull = GPIO_NOPULL;
  GPIO_InitStruct.Speed = GPIO_SPEED_FREQ_LOW;
  HAL_GPIO_Init(GPIOG, &GPIO_InitStruct);

  /*Configure GPIO pins : SDCKE1_Pin SDNE1_Pin */
  GPIO_InitStruct.Pin = SDCKE1_Pin|SDNE1_Pin;
  GPIO_InitStruct.Mode = GPIO_MODE_AF_PP;
  GPIO_InitStruct.Pull = GPIO_NOPULL;
  GPIO_InitStruct.Speed = GPIO_SPEED_FREQ_VERY_HIGH;
  GPIO_InitStruct.Alternate = GPIO_AF12_FMC;
  HAL_GPIO_Init(GPIOB, &GPIO_InitStruct);

}

/* USER CODE BEGIN 4 */
static void Task1(void* parameters)
{
	char mess[100];
	while(1)
	{
		//printf("%s\n",(char*)parameters);

		snprintf(mess, 100, (char*)parameters);
		SEGGER_SYSVIEW_PrintfTarget(mess);

		taskYIELD();
	}

}

static void Task2(void* parameters)
{
	char mess[100];

	while(1)
		{
		snprintf(mess, 100, (char*)parameters);
		SEGGER_SYSVIEW_PrintfTarget(mess);

		taskYIELD();
		}

}

/* USER CODE END 4 */

void HAL_TIM_PeriodElapsedCallback(TIM_HandleTypeDef *htim)
{
  if (htim->Instance == TIM6) {
    HAL_IncTick();
  }
}

void Error_Handler(void)
{
  __disable_irq();
  while (1)
  {
  }
}
